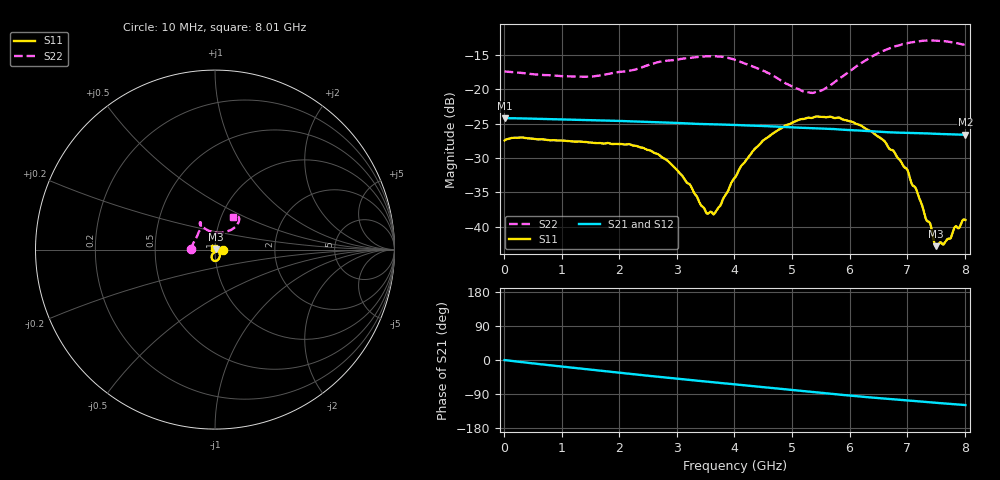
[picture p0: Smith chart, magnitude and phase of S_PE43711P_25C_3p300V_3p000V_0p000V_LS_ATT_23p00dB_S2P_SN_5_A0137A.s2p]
! Device ID: PE43711P
! File Path: z:\PE43711P\CHAR_NOM_04282014\AMB\3p300\LS_ATT_23p00dB\PE43711P_AMB_3p300V_3p000V_0p000V_LS_ATT_23p00dB_S2P_SN_5_A0137A.s2p
! Serial: 5
! Lot: A0137A
! Temp: 25C
! VDD: 3.300
! VSS: 0.000
! Control_Hi: 3.000
! Control_Lo: 0.000
! Attenuation Step: 23.00dB
! Port 1: RF1
! Port 2: RF2
! ThroughPath:1-2
! IDD: 0.0001280277
! ISS: -1.37e-007
#  Hz  S  RI  R  50
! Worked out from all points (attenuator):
!   801 points, 10 MHz to 8.01 GHz, reference 50 ohm
!   highest |S21| = -24.20 dB at 20 MHz (marker M1); lowest = -26.6 dB at 8.01 GHz (marker M2)
!   lowest |S11| = -42.8 dB at 7.5 GHz (marker M3), VSWR 1.01, Z = 50.6 + j0.421 ohm
!   |S11| at or under -10 dB: start of sweep to end of sweep
!   |S22| runs from -20.5 to -12.9 dB; largest |S21 - S12| = 0.00014
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1e7  0.0425 0.0003  0.0616 -0.000265  0.0617 -0.000276  -0.1351 0.00102
2e7  0.0427 0.000339  0.0616 -0.000385  0.0617 -0.000402  -0.1348 0.00161
1.35e9  0.0403 -0.00996  0.0552 -0.0234  0.0552 -0.0234  -0.1074 0.0602
2.18e9  0.0384 -0.0105  0.047 -0.0348  0.047 -0.0348  -0.0844 0.1071
2.68e9  0.0326 -0.00806  0.0411 -0.0401  0.0412 -0.0401  -0.0793 0.1364
3.07e9  0.0229 -0.00727  0.0362 -0.0437  0.0362 -0.0437  -0.0789 0.1463
3.54e9  0.00627 -0.0107  0.0301 -0.0469  0.0301 -0.0469  -0.0829 0.1531
3.68e9  0.00105 -0.0129  0.0282 -0.0478  0.0282 -0.0478  -0.0842 0.1519
4.01e9  -0.00991 -0.0205  0.0236 -0.0497  0.0236 -0.0497  -0.0837 0.1409
4.32e9  -0.0174 -0.0309  0.0193 -0.0508  0.0194 -0.0508  -0.0714 0.1279
4.52e9  -0.0189 -0.0387  0.0165 -0.0514  0.0165 -0.0515  -0.0608 0.121
4.89e9  -0.0168 -0.052  0.0113 -0.0519  0.0112 -0.0519  -0.0347 0.1048
5.35e9  -0.00577 -0.0616  0.00513 -0.0519  0.00515 -0.052  0.0106 0.0934
5.56e9  0.00188 -0.0628  0.00231 -0.0517  0.00231 -0.0517  0.0352 0.0939
6.05e9  0.0188 -0.0548  -0.00397 -0.0502  -0.00406 -0.0502  0.088 0.109
6.4e9  0.0259 -0.0411  -0.00799 -0.0488  -0.00799 -0.0489  0.1168 0.1296
6.68e9  0.0262 -0.0265  -0.0107 -0.0475  -0.0106 -0.0475  0.1296 0.1495
7e9  0.0227 -0.0126  -0.0137 -0.0462  -0.0137 -0.0462  0.1352 0.1687
7.39e9  0.0106 0.00183  -0.0175 -0.0443  -0.0174 -0.0443  0.127 0.1876
7.5e9  0.00589 0.00416  -0.0185 -0.0437  -0.0184 -0.0437  0.1222 0.1898
7.65e9  0.000413 0.00759  -0.0197 -0.0428  -0.0197 -0.0428  0.1156 0.1917
8.01e9  -0.00793 0.00791  -0.0225 -0.0408  -0.0226 -0.0408  0.1003 0.1837
